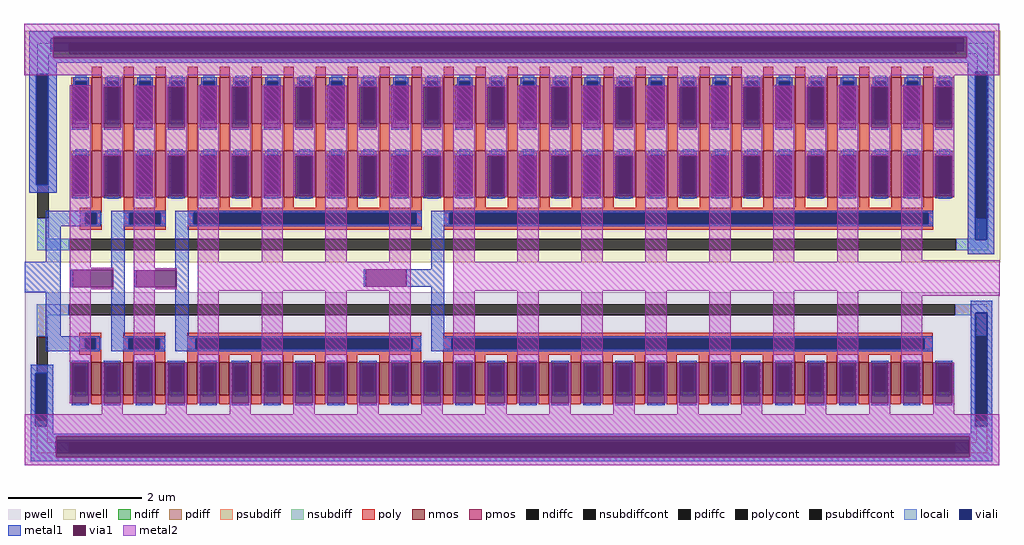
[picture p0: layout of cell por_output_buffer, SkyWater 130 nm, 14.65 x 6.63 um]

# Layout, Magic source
magic
tech sky130A
magscale 1 2
<< nwell >>
rect 33421 -285686 33423 -285354
<< locali >>
rect 33368 -285226 33451 -285225
rect 33368 -285246 36265 -285226
rect 33368 -285285 33432 -285246
rect 36173 -285285 36265 -285246
rect 33368 -285320 36265 -285285
rect 33368 -285354 33451 -285320
rect 33368 -285686 33389 -285354
rect 33423 -285686 33451 -285354
rect 33368 -285710 33451 -285686
rect 36185 -285347 36265 -285320
rect 36185 -285850 36208 -285347
rect 36242 -285850 36265 -285347
rect 36185 -285895 36265 -285850
rect 36194 -286070 36258 -286034
rect 33372 -286251 33440 -286226
rect 33372 -286411 33386 -286251
rect 33421 -286411 33440 -286251
rect 33372 -286433 33440 -286411
rect 36194 -286411 36208 -286070
rect 36243 -286411 36258 -286070
rect 36194 -286433 36258 -286411
rect 33372 -286452 36258 -286433
rect 33372 -286491 33447 -286452
rect 36188 -286491 36258 -286452
rect 33372 -286515 36258 -286491
<< viali >>
rect 33432 -285285 36173 -285246
rect 33389 -285686 33423 -285354
rect 36208 -285850 36242 -285347
rect 33386 -286411 33421 -286251
rect 36208 -286411 36243 -286070
rect 33447 -286491 36188 -286452
<< metal1 >>
rect 33368 -285226 33451 -285225
rect 33368 -285241 36265 -285226
rect 33368 -285246 33440 -285241
rect 33368 -285285 33432 -285246
rect 33368 -285304 33440 -285285
rect 36182 -285304 36265 -285241
rect 33368 -285320 36265 -285304
rect 33368 -285354 33451 -285320
rect 33368 -285686 33389 -285354
rect 33423 -285686 33451 -285354
rect 33368 -285710 33451 -285686
rect 36185 -285347 36265 -285320
rect 33417 -285810 33524 -285764
rect 33417 -285917 33463 -285810
rect 33354 -286009 33463 -285917
rect 33417 -286140 33463 -286009
rect 33417 -286186 33522 -286140
rect 33614 -286185 33654 -285764
rect 33806 -286186 33846 -285764
rect 34574 -285940 34614 -285763
rect 36185 -285850 36208 -285347
rect 36242 -285850 36265 -285347
rect 36185 -285895 36265 -285850
rect 34506 -285992 34614 -285940
rect 34574 -286186 34614 -285992
rect 36194 -286070 36258 -286034
rect 33372 -286251 33440 -286226
rect 33372 -286411 33386 -286251
rect 33421 -286411 33440 -286251
rect 33372 -286433 33440 -286411
rect 36194 -286411 36208 -286070
rect 36243 -286411 36258 -286070
rect 36194 -286433 36258 -286411
rect 33372 -286441 36258 -286433
rect 33372 -286452 33449 -286441
rect 33372 -286491 33447 -286452
rect 33372 -286504 33449 -286491
rect 36191 -286504 36258 -286441
rect 33372 -286515 36258 -286504
<< via1 >>
rect 33440 -285246 36182 -285241
rect 33440 -285285 36173 -285246
rect 36173 -285285 36182 -285246
rect 33440 -285304 36182 -285285
rect 33449 -286452 36191 -286441
rect 33449 -286491 36188 -286452
rect 36188 -286491 36191 -286452
rect 33449 -286504 36191 -286491
<< metal2 >>
rect 33352 -285241 36280 -285202
rect 33352 -285304 33440 -285241
rect 36182 -285304 36280 -285241
rect 33352 -285357 36280 -285304
rect 33489 -286220 33553 -285387
rect 33585 -285392 33649 -285357
rect 33585 -285598 33649 -285514
rect 33681 -286220 33745 -285389
rect 33777 -285392 33841 -285357
rect 33777 -285598 33841 -285514
rect 33873 -285917 33937 -285389
rect 33969 -285392 34033 -285357
rect 33969 -285598 34033 -285514
rect 34065 -285917 34129 -285389
rect 34161 -285392 34225 -285357
rect 34161 -285598 34225 -285514
rect 34257 -285917 34321 -285389
rect 34353 -285392 34417 -285357
rect 34353 -285598 34417 -285514
rect 34449 -285917 34513 -285389
rect 34545 -285392 34609 -285357
rect 34545 -285598 34609 -285514
rect 33873 -286004 34513 -285917
rect 33873 -286220 33937 -286004
rect 34065 -286220 34129 -286004
rect 34257 -286220 34321 -286004
rect 34449 -286220 34513 -286004
rect 34641 -285917 34705 -285389
rect 34737 -285392 34801 -285357
rect 34737 -285598 34801 -285514
rect 34833 -285917 34897 -285389
rect 34929 -285392 34993 -285357
rect 34929 -285598 34993 -285514
rect 35025 -285917 35089 -285389
rect 35121 -285392 35185 -285357
rect 35121 -285598 35185 -285514
rect 35217 -285917 35281 -285389
rect 35313 -285392 35377 -285357
rect 35313 -285598 35377 -285514
rect 35409 -285917 35473 -285389
rect 35505 -285392 35569 -285357
rect 35505 -285598 35569 -285514
rect 35601 -285917 35665 -285389
rect 35697 -285392 35761 -285357
rect 35697 -285598 35761 -285514
rect 35793 -285917 35857 -285389
rect 35889 -285392 35953 -285357
rect 35889 -285598 35953 -285514
rect 35985 -285912 36049 -285389
rect 36081 -285392 36145 -285357
rect 36081 -285598 36145 -285514
rect 35985 -285917 36281 -285912
rect 34641 -286004 36281 -285917
rect 34641 -286220 34705 -286004
rect 34833 -286220 34897 -286004
rect 35025 -286220 35089 -286004
rect 35217 -286220 35281 -286004
rect 35409 -286220 35473 -286004
rect 35601 -286220 35665 -286004
rect 35793 -286220 35857 -286004
rect 35985 -286019 36281 -286004
rect 35985 -286220 36049 -286019
rect 33585 -286374 33649 -286342
rect 33777 -286374 33841 -286342
rect 33969 -286374 34033 -286342
rect 34161 -286374 34225 -286342
rect 34353 -286374 34417 -286342
rect 34545 -286374 34609 -286342
rect 34737 -286374 34801 -286342
rect 34929 -286374 34993 -286342
rect 35121 -286374 35185 -286342
rect 35313 -286374 35377 -286342
rect 35505 -286374 35569 -286342
rect 35697 -286374 35761 -286342
rect 35889 -286374 35953 -286342
rect 36081 -286374 36145 -286342
rect 33355 -286441 36280 -286374
rect 33355 -286504 33449 -286441
rect 36191 -286504 36280 -286441
rect 33355 -286527 36280 -286504
use por_via_2cut  por_via_2cut_0
transform 0 1 42573 -1 0 -270126
box 16088 -7932 16222 -7868
use por_via_2cut  por_via_2cut_1
transform 0 1 41421 -1 0 -269504
box 16088 -7932 16222 -7868
use por_via_2cut  por_via_2cut_2
transform 0 1 41421 -1 0 -270126
box 16088 -7932 16222 -7868
use por_via_2cut  por_via_2cut_3
transform 0 1 41613 -1 0 -270126
box 16088 -7932 16222 -7868
use por_via_2cut  por_via_2cut_4
transform 0 1 41517 -1 0 -270126
box 16088 -7932 16222 -7868
use por_via_2cut  por_via_2cut_5
transform 0 1 41709 -1 0 -270126
box 16088 -7932 16222 -7868
use por_via_2cut  por_via_2cut_6
transform 0 1 41805 -1 0 -270126
box 16088 -7932 16222 -7868
use por_via_2cut  por_via_2cut_7
transform 0 1 41901 -1 0 -270126
box 16088 -7932 16222 -7868
use por_via_2cut  por_via_2cut_8
transform 0 1 41997 -1 0 -270126
box 16088 -7932 16222 -7868
use por_via_2cut  por_via_2cut_9
transform 0 1 42093 -1 0 -270126
box 16088 -7932 16222 -7868
use por_via_2cut  por_via_2cut_10
transform 0 1 42189 -1 0 -270126
box 16088 -7932 16222 -7868
use por_via_2cut  por_via_2cut_11
transform 0 1 42285 -1 0 -270126
box 16088 -7932 16222 -7868
use por_via_2cut  por_via_2cut_12
transform 0 1 42381 -1 0 -270126
box 16088 -7932 16222 -7868
use por_via_2cut  por_via_2cut_13
transform 0 1 42477 -1 0 -270126
box 16088 -7932 16222 -7868
use por_via_2cut  por_via_2cut_14
transform 0 1 42861 -1 0 -270126
box 16088 -7932 16222 -7868
use por_via_2cut  por_via_2cut_15
transform 0 1 42669 -1 0 -270126
box 16088 -7932 16222 -7868
use por_via_2cut  por_via_2cut_16
transform 0 1 42765 -1 0 -270126
box 16088 -7932 16222 -7868
use por_via_2cut  por_via_2cut_17
transform 0 1 43053 -1 0 -270126
box 16088 -7932 16222 -7868
use por_via_2cut  por_via_2cut_18
transform 0 1 42957 -1 0 -270126
box 16088 -7932 16222 -7868
use por_via_2cut  por_via_2cut_19
transform 0 1 43341 -1 0 -270126
box 16088 -7932 16222 -7868
use por_via_2cut  por_via_2cut_20
transform 0 1 43149 -1 0 -270126
box 16088 -7932 16222 -7868
use por_via_2cut  por_via_2cut_21
transform 0 1 43245 -1 0 -270126
box 16088 -7932 16222 -7868
use por_via_2cut  por_via_2cut_22
transform 0 1 43629 -1 0 -270126
box 16088 -7932 16222 -7868
use por_via_2cut  por_via_2cut_23
transform 0 1 43437 -1 0 -270126
box 16088 -7932 16222 -7868
use por_via_2cut  por_via_2cut_24
transform 0 1 43533 -1 0 -270126
box 16088 -7932 16222 -7868
use por_via_2cut  por_via_2cut_25
transform 0 1 43917 -1 0 -270126
box 16088 -7932 16222 -7868
use por_via_2cut  por_via_2cut_26
transform 0 1 43725 -1 0 -270126
box 16088 -7932 16222 -7868
use por_via_2cut  por_via_2cut_27
transform 0 1 43821 -1 0 -270126
box 16088 -7932 16222 -7868
use por_via_2cut  por_via_2cut_28
transform 0 1 44013 -1 0 -270126
box 16088 -7932 16222 -7868
use por_via_2cut  por_via_2cut_29
transform 0 1 42381 -1 0 -269298
box 16088 -7932 16222 -7868
use por_via_2cut  por_via_2cut_30
transform 0 1 42381 -1 0 -269504
box 16088 -7932 16222 -7868
use por_via_2cut  por_via_2cut_31
transform -1 0 49714 0 -1 -293867
box 16088 -7932 16222 -7868
use por_via_2cut  por_via_2cut_32
transform 0 1 41421 -1 0 -269298
box 16088 -7932 16222 -7868
use por_via_2cut  por_via_2cut_33
transform 0 1 41517 -1 0 -269504
box 16088 -7932 16222 -7868
use por_via_2cut  por_via_2cut_34
transform 0 1 41517 -1 0 -269298
box 16088 -7932 16222 -7868
use por_via_2cut  por_via_2cut_35
transform 0 1 41613 -1 0 -269504
box 16088 -7932 16222 -7868
use por_via_2cut  por_via_2cut_36
transform 0 1 41613 -1 0 -269298
box 16088 -7932 16222 -7868
use por_via_2cut  por_via_2cut_37
transform 0 1 41709 -1 0 -269504
box 16088 -7932 16222 -7868
use por_via_2cut  por_via_2cut_38
transform 0 1 41709 -1 0 -269298
box 16088 -7932 16222 -7868
use por_via_2cut  por_via_2cut_39
transform 0 1 41805 -1 0 -269504
box 16088 -7932 16222 -7868
use por_via_2cut  por_via_2cut_40
transform 0 1 41805 -1 0 -269298
box 16088 -7932 16222 -7868
use por_via_2cut  por_via_2cut_41
transform 0 1 41901 -1 0 -269504
box 16088 -7932 16222 -7868
use por_via_2cut  por_via_2cut_42
transform 0 1 41901 -1 0 -269298
box 16088 -7932 16222 -7868
use por_via_2cut  por_via_2cut_43
transform 0 1 41997 -1 0 -269504
box 16088 -7932 16222 -7868
use por_via_2cut  por_via_2cut_44
transform 0 1 41997 -1 0 -269298
box 16088 -7932 16222 -7868
use por_via_2cut  por_via_2cut_45
transform 0 1 42093 -1 0 -269504
box 16088 -7932 16222 -7868
use por_via_2cut  por_via_2cut_46
transform 0 1 42093 -1 0 -269298
box 16088 -7932 16222 -7868
use por_via_2cut  por_via_2cut_47
transform 0 1 42189 -1 0 -269504
box 16088 -7932 16222 -7868
use por_via_2cut  por_via_2cut_48
transform 0 1 42189 -1 0 -269298
box 16088 -7932 16222 -7868
use por_via_2cut  por_via_2cut_49
transform 0 1 42285 -1 0 -269504
box 16088 -7932 16222 -7868
use por_via_2cut  por_via_2cut_50
transform 0 1 42285 -1 0 -269298
box 16088 -7932 16222 -7868
use por_via_2cut  por_via_2cut_51
transform 0 1 42669 -1 0 -269504
box 16088 -7932 16222 -7868
use por_via_2cut  por_via_2cut_52
transform 0 1 42669 -1 0 -269298
box 16088 -7932 16222 -7868
use por_via_2cut  por_via_2cut_53
transform 0 1 42477 -1 0 -269504
box 16088 -7932 16222 -7868
use por_via_2cut  por_via_2cut_54
transform 0 1 42477 -1 0 -269298
box 16088 -7932 16222 -7868
use por_via_2cut  por_via_2cut_55
transform 0 1 42573 -1 0 -269504
box 16088 -7932 16222 -7868
use por_via_2cut  por_via_2cut_56
transform 0 1 42573 -1 0 -269298
box 16088 -7932 16222 -7868
use por_via_2cut  por_via_2cut_57
transform 0 1 42957 -1 0 -269504
box 16088 -7932 16222 -7868
use por_via_2cut  por_via_2cut_58
transform 0 1 42957 -1 0 -269298
box 16088 -7932 16222 -7868
use por_via_2cut  por_via_2cut_59
transform 0 1 42765 -1 0 -269504
box 16088 -7932 16222 -7868
use por_via_2cut  por_via_2cut_60
transform 0 1 42765 -1 0 -269298
box 16088 -7932 16222 -7868
use por_via_2cut  por_via_2cut_61
transform 0 1 42861 -1 0 -269504
box 16088 -7932 16222 -7868
use por_via_2cut  por_via_2cut_62
transform 0 1 42861 -1 0 -269298
box 16088 -7932 16222 -7868
use por_via_2cut  por_via_2cut_63
transform 0 1 43245 -1 0 -269504
box 16088 -7932 16222 -7868
use por_via_2cut  por_via_2cut_64
transform 0 1 43245 -1 0 -269298
box 16088 -7932 16222 -7868
use por_via_2cut  por_via_2cut_65
transform 0 1 43053 -1 0 -269504
box 16088 -7932 16222 -7868
use por_via_2cut  por_via_2cut_66
transform 0 1 43053 -1 0 -269298
box 16088 -7932 16222 -7868
use por_via_2cut  por_via_2cut_67
transform 0 1 43149 -1 0 -269504
box 16088 -7932 16222 -7868
use por_via_2cut  por_via_2cut_68
transform 0 1 43149 -1 0 -269298
box 16088 -7932 16222 -7868
use por_via_2cut  por_via_2cut_69
transform 0 1 43629 -1 0 -269504
box 16088 -7932 16222 -7868
use por_via_2cut  por_via_2cut_70
transform 0 1 43629 -1 0 -269298
box 16088 -7932 16222 -7868
use por_via_2cut  por_via_2cut_71
transform 0 1 43341 -1 0 -269504
box 16088 -7932 16222 -7868
use por_via_2cut  por_via_2cut_72
transform 0 1 43341 -1 0 -269298
box 16088 -7932 16222 -7868
use por_via_2cut  por_via_2cut_73
transform 0 1 43437 -1 0 -269504
box 16088 -7932 16222 -7868
use por_via_2cut  por_via_2cut_74
transform 0 1 43437 -1 0 -269298
box 16088 -7932 16222 -7868
use por_via_2cut  por_via_2cut_75
transform 0 1 43533 -1 0 -269504
box 16088 -7932 16222 -7868
use por_via_2cut  por_via_2cut_76
transform 0 1 43533 -1 0 -269298
box 16088 -7932 16222 -7868
use por_via_2cut  por_via_2cut_77
transform 0 1 43917 -1 0 -269504
box 16088 -7932 16222 -7868
use por_via_2cut  por_via_2cut_78
transform 0 1 43917 -1 0 -269298
box 16088 -7932 16222 -7868
use por_via_2cut  por_via_2cut_79
transform 0 1 43725 -1 0 -269504
box 16088 -7932 16222 -7868
use por_via_2cut  por_via_2cut_80
transform 0 1 43725 -1 0 -269298
box 16088 -7932 16222 -7868
use por_via_2cut  por_via_2cut_81
transform 0 1 43821 -1 0 -269504
box 16088 -7932 16222 -7868
use por_via_2cut  por_via_2cut_82
transform 0 1 43821 -1 0 -269298
box 16088 -7932 16222 -7868
use por_via_2cut  por_via_2cut_83
transform 0 1 44013 -1 0 -269504
box 16088 -7932 16222 -7868
use por_via_2cut  por_via_2cut_84
transform 0 1 44013 -1 0 -269298
box 16088 -7932 16222 -7868
use por_via_2cut  por_via_2cut_85
transform -1 0 49905 0 -1 -293868
box 16088 -7932 16222 -7868
use por_via_2cut  por_via_2cut_86
transform -1 0 50594 0 -1 -293866
box 16088 -7932 16222 -7868
use sky130_fd_pr__nfet_01v8_PR763Z  XM53 paramcells
transform 1 0 34817 0 1 -286268
box -1463 -260 1463 260
use sky130_fd_pr__pfet_01v8_DD63S8  XM54 paramcells
transform 1 0 34819 0 1 -285521
box -1463 -397 1463 297
<< end >>

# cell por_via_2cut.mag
magic
tech sky130A
<< metal1 >>
rect 8044 -3963 8047 -3937
rect 8108 -3963 8111 -3937
<< via1 >>
rect 8047 -3963 8108 -3937
<< metal2 >>
rect 8047 -3937 8108 -3934
rect 8047 -3966 8108 -3963
<< end >>

# cell sky130_fd_pr__nfet_01v8_PR763Z: kit device sky130_fd_pr__nfet_01v8, w 0.5 l 0.15 m 1 nf 27 diffcov 100 polycov 100 guard 1 glc 1 grc 1 gtc 1 gbc 1 tbcov 100 rlcov 100 topc 1 botc 1 poverlap 0 doverlap 1 lmin 0.15 wmin 0.42 compatible {sky130_fd_pr__nfet_01v8 sky130_fd_pr__nfet_01v8_lvt sky130_fd_bs_flash__special_sonosfet_star sky130_fd_pr__nfet_g5v0d10v5 sky130_fd_pr__nfet_05v0_nvt sky130_fd_pr__nfet_03v3_nvt} full_metal 1 viasrc 100 viadrn 100 viagate 100 viagb 0 viagr 0 viagl 0 viagt 0

# cell sky130_fd_pr__pfet_01v8_DD63S8: kit device sky130_fd_pr__pfet_01v8, w 0.7 l 0.15 m 2 nf 27 diffcov 100 polycov 100 guard 1 glc 1 grc 1 gtc 1 gbc 1 tbcov 100 rlcov 100 topc 1 botc 1 poverlap 0 doverlap 1 lmin 0.15 wmin 0.42 compatible {sky130_fd_pr__pfet_01v8 sky130_fd_pr__pfet_01v8_lvt sky130_fd_pr__pfet_01v8_hvt sky130_fd_pr__pfet_g5v0d10v5} full_metal 1 viasrc 100 viadrn 100 viagate 100 viagb 0 viagr 0 viagl 0 viagt 0
